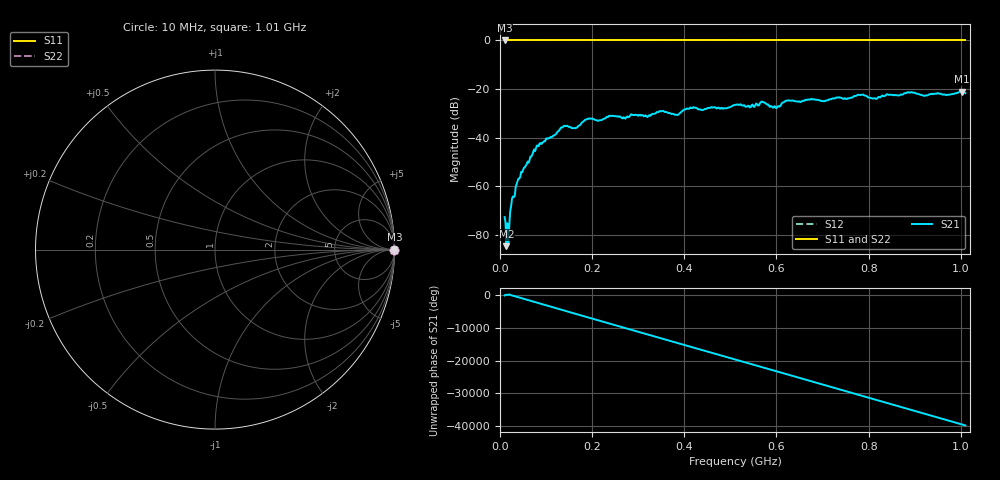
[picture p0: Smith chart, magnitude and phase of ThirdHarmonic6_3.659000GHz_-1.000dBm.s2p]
! 8/17/2025 12:20:22 PM
! C:\ANRITSUVNA\TEMP\TEMP.S2P
! CHANNEL.1
! TR.MEASUREMENT
! RAW.DATA
! RF.CORRECTION.OFF
! AVERAGING.OFF
! IF.BANDWIDTH: 5KHZ
! SWEEPTYPE:  FREQ.SWEEP(Linear)
! Reference Plane Port Info
! PORT:  PORT1  PORT2
! DISTANCE:  0  m  0  m
! TIME:  0  s  0  s
! PHASE.OFFSET:  0  deg.  0  deg.
! LOSS:  0  dB  0  dB
! REF.LOSS:  0  dB  0  dB
! REF.FREQ:  0  Hz  0  Hz
! Power Info
! POWER:  -20  dBm  -20  dBm
! EFF.POWER:  -20  dBm  -20  dBm
! SOURCE.ATTEN:  0  dB  0  dB
! TEST.ATTEN:  0  dB  0  dB
# GHZ S RI R 50.0
! FREQ.GHZ  S11RE  S11IM  S21RE  S21IM  S12RE  S12IM  S22RE  S22IM
!; PortSelection: Port_12
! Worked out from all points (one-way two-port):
!   501 points, 10 MHz to 1.01 GHz, reference 50 ohm
!   highest |S21| = -21.02 dB at 1.002 GHz (marker M1); lowest = -84.7 dB at 14 MHz (marker M2)
!   lowest |S11| = 0.0 dB at 10 MHz (marker M3)
!   |S11| at or under -10 dB: nowhere
!   |S22| runs from 0.0 to 0.0 dB; largest |S21 - S12| = 1.1
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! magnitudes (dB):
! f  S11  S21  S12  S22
! 10 MHz  0.0  -72.7  0.0  0.0
! 14 MHz  0.0  -84.7  0.0  0.0
! 18 MHz  0.0  -84.1  0.0  0.0
! 26 MHz  0.0  -65.3  0.0  0.0
! 38 MHz  0.0  -58.0  0.0  0.0
! 78 MHz  0.0  -44.4  0.0  0.0
! 136 MHz  0.0  -35.7  0.0  0.0
! 164 MHz  0.0  -36.1  0.0  0.0
! 178 MHz  0.0  -33.8  0.0  0.0
! 344 MHz  0.0  -29.5  0.0  0.0
! 384 MHz  0.0  -30.6  0.0  0.0
! 416 MHz  0.0  -27.9  0.0  0.0
! 510 MHz  0.0  -26.5  0.0  0.0
! 570 MHz  0.0  -25.3  0.0  0.0
! 596 MHz  0.0  -27.1  0.0  0.0
! 624 MHz  0.0  -24.7  0.0  0.0
! 678 MHz  0.0  -24.2  0.0  0.0
! 784 MHz  0.0  -22.4  0.0  0.0
! 814 MHz  0.0  -23.8  0.0  0.0
! 844 MHz  0.0  -22.4  0.0  0.0
! 1.002 GHz  0.0  -21.0  0.0  0.0
! 1.01 GHz  0.0  -21.7  0.0  0.0
